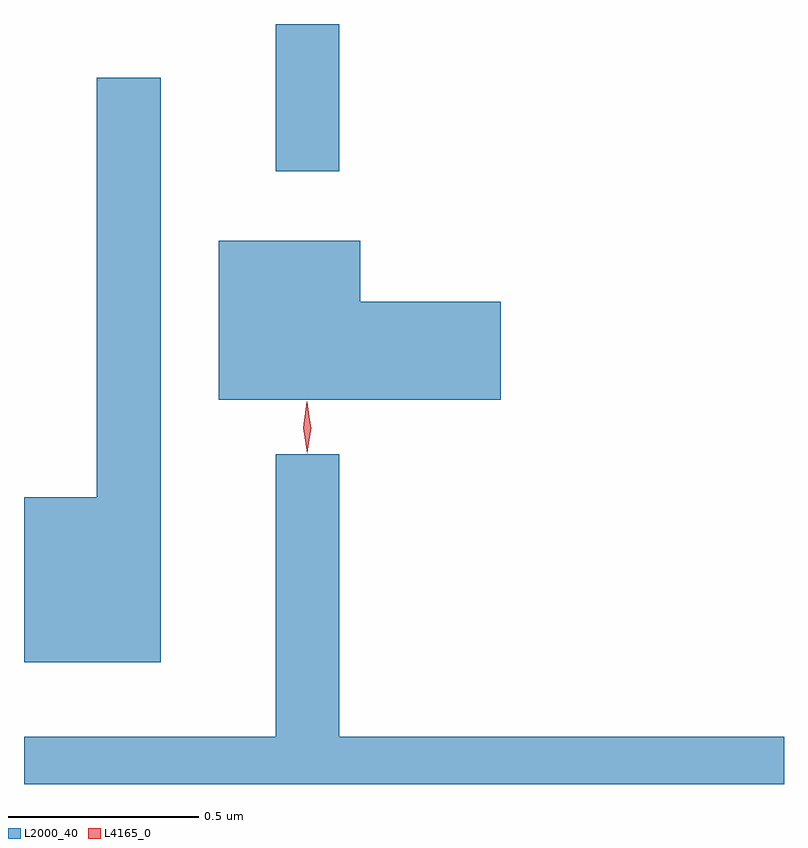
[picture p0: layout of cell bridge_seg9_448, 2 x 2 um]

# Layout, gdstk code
import gdstk
lib = gdstk.Library(unit=1e-6, precision=1e-09)
def R(c, l, rs):  # rectangles x0, y0, x1, y1
    for r in rs: c.add(gdstk.rectangle(r[:2], r[2:], *l))
def P(c, l, *ps):  # polygons
    for p in ps: c.add(gdstk.Polygon(p, *l))
L2000_40 = (2000, 40)
L4165_0 = (4165, 0)

bridge_seg9_448 = lib.new_cell('bridge_seg9_448')
R(bridge_seg9_448, L2000_40, [(412.851,2040.193,413.019,2040.58)])
P(bridge_seg9_448, L2000_40, [(412.549,2040.438),(412.381,2040.438),(412.381,2039.334),(412.189,2039.334),(412.189,2038.901),(412.549,2038.901)],
  [(413.444,2039.849),(413.074,2039.849),(413.074,2040.009),(412.701,2040.009),(412.701,2039.591),(413.444,2039.591)],
  [(414.189,2038.704),(413.019,2038.704),(413.019,2039.448),(412.851,2039.448),(412.851,2038.704),(412.189,2038.704),(412.189,2038.58),(414.189,2038.58)])
P(bridge_seg9_448, L4165_0, [(412.934,2039.45),(412.934,2039.45),(412.924,2039.518),(412.933,2039.586),(412.933,2039.586),(412.934,2039.586),(412.944,2039.518),(412.935,2039.45)],
  [(412.935,2039.453),(412.934,2039.454),(412.925,2039.516),(412.934,2039.579),(412.935,2039.58),(412.935,2039.579),(412.945,2039.516),(412.935,2039.454)])

lib.write_gds('bridge_seg9_448.gds')
